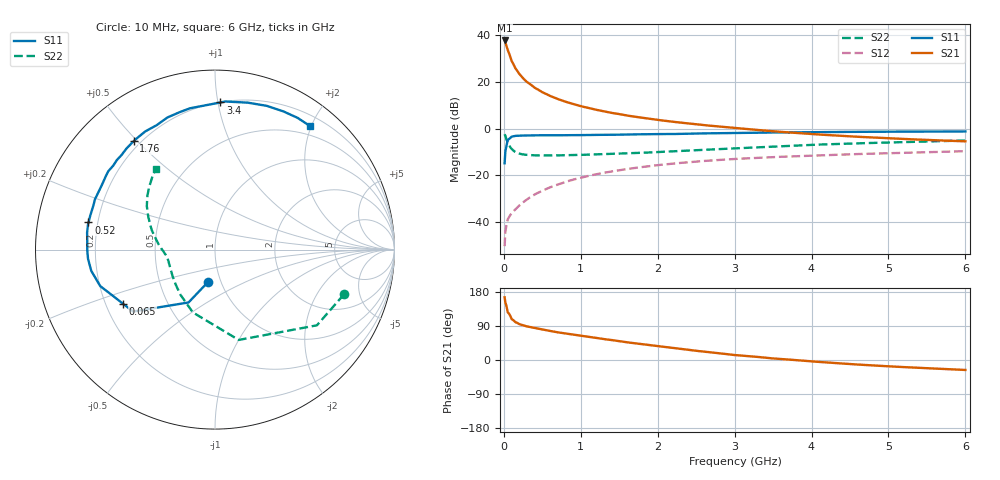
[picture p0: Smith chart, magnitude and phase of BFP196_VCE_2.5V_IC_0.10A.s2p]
! Infineon Technologies  Discrete & RF Semiconductors
! BFP196
! VCE = 2.5 V,  IC = 0.10A
! Common Emitter S-Parameters:  Jan 2016
# GHz  S  MA  R  50
!  f  S11  S21  S12  S22
! GHz  MAG  ANG  MAG  ANG  MAG  ANG  MAG  ANG
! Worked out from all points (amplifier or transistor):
!   210 points, 10 MHz to 6 GHz, reference 50 ohm
!   highest |S21| = 37.6 dB at 10 MHz (marker M1)
!   |S21| within 3 dB of that: start of sweep to 39.91 MHz
!   unconditionally stable (mu >= 1): 280.9 MHz to 4.992 GHz; 5.028 GHz to 5.321 GHz; 5.784125 GHz to 5.809616 GHz
!   at 185 MHz: K = 0.88, MSG = 28.7 dB, |S12| = -33.3 dB
!   at 1.52 GHz: K = 1.10, MAG = 9.9 dB, |S12| = -17.6 dB
!   at 6 GHz: K = 1.00, MSG = 2.1 dB, |S12| = -9.6 dB
!   S11 on the Smith chart (normalised r, x): 10 MHz: 0.87, -0.32; 65 MHz: 0.27, -0.25; 520 MHz: 0.16, +0.10; 1.76 GHz: 0.17, +0.49; 3.4 GHz: 0.20, +1.02; 6 GHz: 0.35, +1.98
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0.01  0.1818 -101.6  75.94 165.4  0.0031 71.8  0.7605 -19.2
0.02  0.3294 -116.6  69.33 151.6  0.0064 67.4  0.7074 -36.6
0.05  0.5721 -142.9  47.85 126.2  0.0115 53.5  0.5204 -75.3
0.065  0.594 -149.4  41.58 122.6  0.0128 53.5  0.4606 -83.1
0.1  0.671 -162.4  28.05 108.2  0.0157 53.4  0.371 -109.5
0.15  0.6996 -170.3  19.37 99.9  0.0189 56.2  0.3165 -127.6
0.2  0.7092 -175.8  14.73 94.7  0.0227 59.7  0.2927 -138.5
0.24  0.711 -178.8  12.38 92.1  0.026 61.4  0.2829 -144.7
0.26  0.7117 179.8  11.41 90.8  0.0276 62.3  0.2796 -147.3
0.3  0.7122 177.5  9.884 88.6  0.0307 64.3  0.275 -151.2
0.4  0.7189 172.4  7.469 84.3  0.0392 66.3  0.2689 -158.4
0.52  0.7208 167.9  5.777 79.8  0.0488 67.2  0.267 -163.4
0.7  0.7198 160.7  4.287 73.0  0.0639 66.8  0.2682 -168.3
1.02  0.7268 149.5  2.958 63.3  0.0911 63.5  0.2755 -173.6
1.3  0.7351 140.4  2.331 55.0  0.1142 59.7  0.2845 -177.0
1.76  0.7552 126.9  1.739 42.7  0.1488 52.7  0.3024 177.8
2.02  0.7643 120.0  1.519 36.1  0.1674 48.6  0.3167 174.4
3.1  0.8057 93.8  0.997 11.5  0.2291 31.9  0.385 159.3
3.4  0.8203 87.9  0.905 6.1  0.2422 27.6  0.4067 155.1
4.1  0.8402 75.9  0.747 -5.1  0.2685 18.8  0.4564 146.2
5.1  0.8599 62.5  0.612 -17.7  0.3017 7.5  0.5105 135.5
6  0.8683 52.5  0.535 -26.3  0.3296 -2.6  0.5574 126.4
